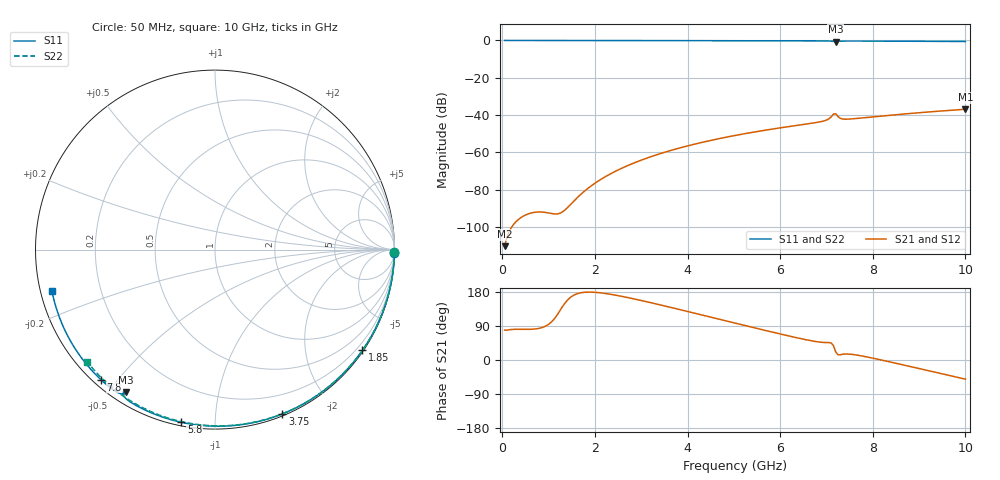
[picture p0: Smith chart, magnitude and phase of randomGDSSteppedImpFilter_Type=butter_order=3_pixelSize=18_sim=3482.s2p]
! freq	dB(S11)	phase(S11)	dB(S12)	phase(S12)
!  dB(S21)	phase(S21)	dB(S22)	phase(S22)
!S-par simulation data
#  GHz  S  DB  R 50
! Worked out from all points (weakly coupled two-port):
!   200 points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, 50 MHz to 10 GHz, reference 50 ohm
!   highest |S21| = -36.91 dB at 10 GHz (marker M1); lowest = -110.4 dB at 50 MHz (marker M2)
!   lowest |S11| = -0.6 dB at 7.2 GHz (marker M3), VSWR 30.15, Z = 2.17 - j27.6 ohm
!   |S11| at or under -10 dB: nowhere
!   |S22| runs from -0.5 to 0.0 dB; largest |S21 - S12| = 0
!   S11 on the Smith chart (normalised r, x): 50 MHz: open; 1.85 GHz: 0.03, -3.23; 3.75 GHz: 0.02, -1.49; 5.8 GHz: 0.02, -0.82; 7.8 GHz: 0.02, -0.45; 10 GHz: 0.03, -0.13
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0.05  -0.00 -0.9  -110.35 79.1  -110.35 79.1  -0.00 -0.8
0.85  -0.02 -16.0  -92.04 85.3  -92.04 85.3  -0.02 -13.6
1.75  -0.04 -32.5  -81.35 178.4  -81.35 178.4  -0.04 -27.7
1.85  -0.04 -34.4  -79.32 179.2  -79.32 179.2  -0.04 -29.2
2.15  -0.05 -39.8  -74.19 176.8  -74.19 176.8  -0.04 -33.8
2.5  -0.06 -46.0  -69.48 169.9  -69.48 169.9  -0.05 -39.2
2.9  -0.07 -53.1  -65.16 159.7  -65.16 159.7  -0.06 -45.2
3.4  -0.08 -61.7  -60.79 145.7  -60.79 145.7  -0.07 -52.6
3.75  -0.09 -67.7  -58.21 135.5  -58.21 135.5  -0.08 -57.7
5.05  -0.14 -89.1  -50.85 96.7  -50.85 96.7  -0.12 -76.0
5.8  -0.17 -101.0  -47.65 74.5  -47.65 74.5  -0.15 -86.2
6.7  -0.23 -115.1  -44.33 50.2  -44.33 50.2  -0.19 -97.9
7  -0.27 -120.1  -42.71 46.1  -42.71 46.1  -0.21 -101.8
7.1  -0.36 -122.1  -41.04 45.1  -41.04 45.1  -0.22 -103.0
7.15  -0.50 -122.8  -39.50 38.1  -39.50 38.1  -0.22 -103.6
7.2  -0.58 -122.1  -39.30 21.3  -39.30 21.3  -0.22 -104.3
7.25  -0.44 -122.2  -40.85 13.7  -40.85 13.7  -0.22 -104.9
7.35  -0.33 -124.0  -42.14 15.2  -42.14 15.2  -0.23 -106.2
7.8  -0.32 -131.3  -41.48 9.9  -41.48 9.9  -0.26 -111.8
8.35  -0.37 -139.7  -40.17 -4.5  -40.17 -4.5  -0.30 -118.6
9.2  -0.46 -152.9  -38.37 -28.1  -38.37 -28.1  -0.38 -128.9
10  -0.56 -165.6  -36.91 -50.5  -36.91 -50.5  -0.47 -138.6
